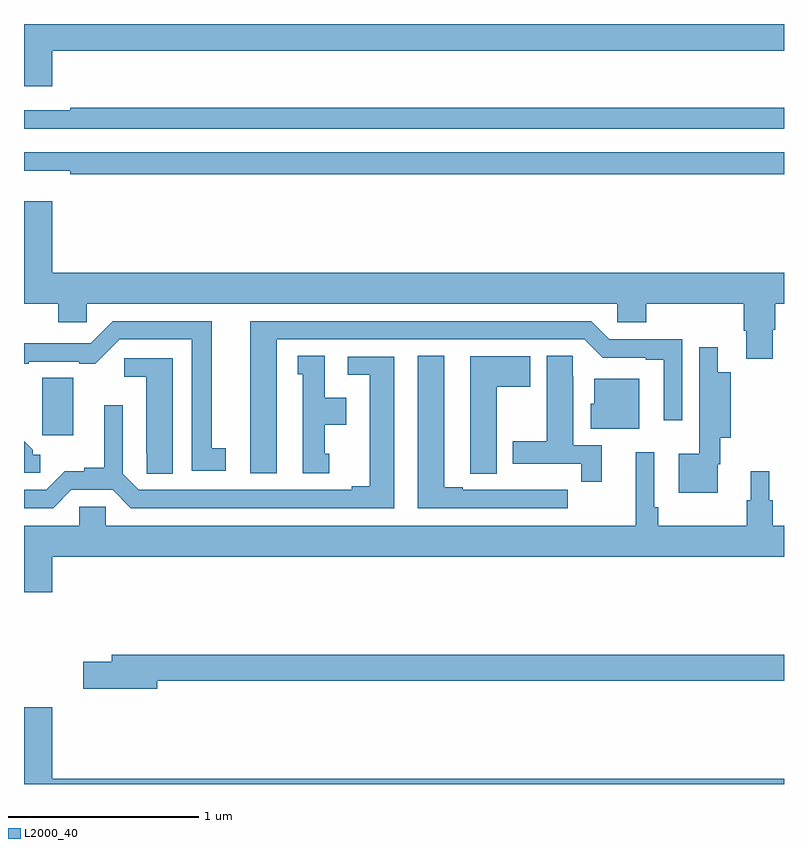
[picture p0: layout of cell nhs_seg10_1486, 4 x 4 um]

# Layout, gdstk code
import gdstk
lib = gdstk.Library(unit=1e-6, precision=1e-09)
def P(c, l, *ps):  # polygons
    for p in ps: c.add(gdstk.Polygon(p, *l))
L2000_40 = (2000, 40)

nhs_seg10_1486 = lib.new_cell('nhs_seg10_1486')
P(nhs_seg10_1486, L2000_40, [(189.148,1256.36),(193,1256.36),(193,1256.5),(189,1256.5),(189,1256.172),(189.148,1256.172)],
  [(193,1256.059),(189.244,1256.059),(189.244,1256.046),(189,1256.046),(189,1255.95),(193,1255.95)],
  [(193,1255.824),(189,1255.824),(189,1255.727),(189.244,1255.727),(189.244,1255.708),(193,1255.708)],
  [(192.94,1254.891),(192.953,1254.891),(192.953,1255.028),(193,1255.028),(193,1255.192),(189.148,1255.192),(189.148,1255.567),(189,1255.567),(189,1255.028),(189.179,1255.028),(189.179,1254.93),(189.33,1254.93),(189.33,1255.028),(192.123,1255.028),(192.123,1254.93),(192.275,1254.93),(192.275,1255.028),(192.788,1255.028),(192.788,1254.886),(192.8,1254.886),(192.8,1254.738),(192.94,1254.738)],
  [(190.063,1254.266),(189.988,1254.266),(189.988,1254.936),(189.468,1254.936),(189.351,1254.819),(189.095,1254.819),(189.095,1254.821),(189,1254.821),(189,1254.711),(189.025,1254.711),(189.025,1254.723),(189.29,1254.723),(189.29,1254.712),(189.376,1254.712),(189.504,1254.84),(189.884,1254.84),(189.884,1254.15),(190.063,1254.15)],
  [(190.33,1254.84),(191.949,1254.84),(192.045,1254.744),(192.272,1254.744),(192.272,1254.732),(192.368,1254.732),(192.368,1254.414),(192.465,1254.414),(192.465,1254.84),(192.081,1254.84),(191.985,1254.936),(190.19,1254.936),(190.19,1254.135),(190.33,1254.135)],
  [(192.651,1254.182),(192.664,1254.182),(192.664,1254.323),(192.72,1254.323),(192.72,1254.667),(192.652,1254.667),(192.652,1254.799),(192.554,1254.799),(192.554,1254.563),(192.553,1254.563),(192.553,1254.238),(192.446,1254.238),(192.446,1254.032),(192.651,1254.032)],
  [(191.863,1254.048),(191.75,1254.048),(191.75,1254.049),(191.584,1254.049),(191.584,1254.048),(191.308,1254.048),(191.308,1254.063),(191.212,1254.063),(191.212,1254.755),(191.072,1254.755),(191.072,1253.952),(191.863,1253.952)],
  [(190.606,1254.237),(190.582,1254.237),(190.582,1254.392),(190.696,1254.392),(190.696,1254.532),(190.582,1254.532),(190.582,1254.755),(190.442,1254.755),(190.442,1254.657),(190.466,1254.657),(190.466,1254.135),(190.606,1254.135)],
  [(192.041,1254.282),(191.89,1254.282),(191.89,1254.644),(191.889,1254.644),(191.889,1254.755),(191.75,1254.755),(191.75,1254.303),(191.573,1254.303),(191.573,1254.186),(191.932,1254.186),(191.932,1254.09),(192.041,1254.09)],
  [(191.488,1254.592),(191.665,1254.592),(191.665,1254.751),(191.348,1254.751),(191.348,1254.241),(191.349,1254.241),(191.349,1254.133),(191.488,1254.133)],
  [(189.249,1254.048),(189.467,1254.048),(189.563,1253.952),(190.948,1253.952),(190.948,1254.75),(190.704,1254.75),(190.704,1254.654),(190.82,1254.654),(190.82,1254.068),(190.724,1254.068),(190.724,1254.048),(189.603,1254.048),(189.519,1254.132),(189.519,1254.493),(189.422,1254.493),(189.422,1254.164),(189.318,1254.164),(189.318,1254.146),(189.215,1254.146),(189.117,1254.048),(189,1254.048),(189,1253.952),(189.153,1253.952)],
  [(189.784,1254.741),(189.528,1254.741),(189.528,1254.644),(189.644,1254.644),(189.644,1254.241),(189.645,1254.241),(189.645,1254.133),(189.784,1254.133)],
  [(189.259,1254.48),(189.258,1254.48),(189.258,1254.638),(189.095,1254.638),(189.095,1254.336),(189.259,1254.336)],
  [(192.238,1254.634),(192.002,1254.634),(192.002,1254.501),(191.984,1254.501),(191.984,1254.371),(192.238,1254.371)],
  [(189.085,1254.234),(189.046,1254.234),(189.046,1254.258),(189,1254.304),(189,1254.138),(189.085,1254.138)],
  [(189.148,1253.696),(193,1253.696),(193,1253.86),(192.941,1253.86),(192.941,1253.994),(192.922,1253.994),(192.922,1254.145),(192.824,1254.145),(192.824,1253.994),(192.805,1253.994),(192.805,1253.86),(192.338,1253.86),(192.338,1253.956),(192.318,1253.956),(192.318,1254.247),(192.221,1254.247),(192.221,1253.86),(189.429,1253.86),(189.429,1253.958),(189.291,1253.958),(189.291,1253.86),(189,1253.86),(189,1253.508),(189.148,1253.508)],
  [(189.7,1253.044),(193,1253.044),(193,1253.18),(189.461,1253.18),(189.461,1253.144),(189.312,1253.144),(189.312,1253.002),(189.7,1253.002)],
  [(193,1252.528),(189.148,1252.528),(189.148,1252.903),(189,1252.903),(189,1252.5),(193,1252.5)])

lib.write_gds('nhs_seg10_1486.gds')
